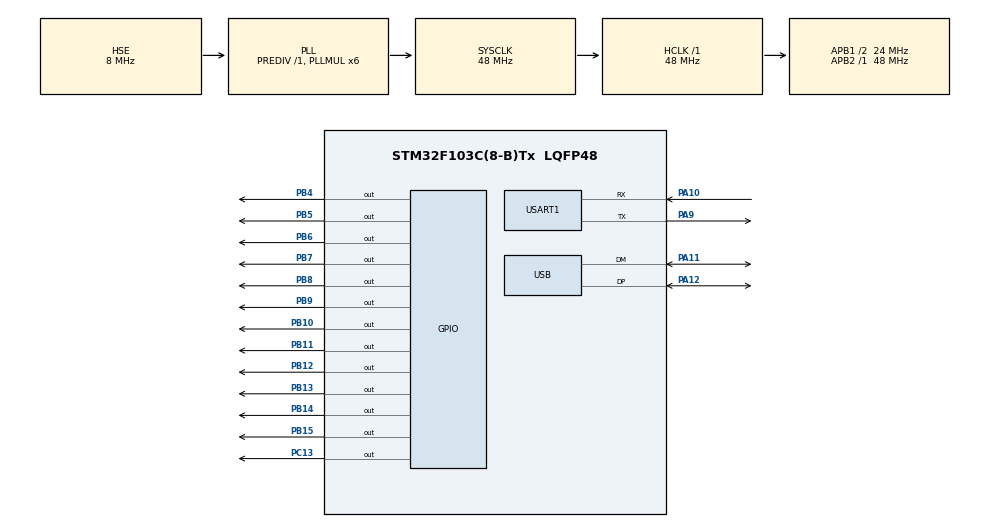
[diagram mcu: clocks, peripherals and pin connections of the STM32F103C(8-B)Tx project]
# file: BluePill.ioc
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Mcu.Family=STM32F1
Mcu.Name=STM32F103C(8-B)Tx
Mcu.Package=LQFP48
NVIC.PriorityGroup=NVIC_PRIORITYGROUP_4
NVIC.USB_LP_CAN1_RX0_IRQn=true\:0\:0\:false\:false\:true\:false\:true
PA10.Mode=Asynchronous
PA10.Signal=USART1_RX
PA11.Mode=Device
PA11.Signal=USB_DM
PA12.Mode=Device
PA12.Signal=USB_DP
PA13.Mode=Serial_Wire
PA13.Signal=SYS_JTMS-SWDIO
PA14.Mode=Serial_Wire
PA14.Signal=SYS_JTCK-SWCLK
PA9.Mode=Asynchronous
PA9.Signal=USART1_TX
PB10.GPIO_PuPd=GPIO_PULLDOWN
PB10.Signal=GPIO_Output
PB11.GPIO_PuPd=GPIO_PULLDOWN
PB11.Signal=GPIO_Output
PB12.GPIO_PuPd=GPIO_PULLDOWN
PB12.Signal=GPIO_Output
PB13.GPIO_PuPd=GPIO_PULLDOWN
PB13.Signal=GPIO_Output
PB14.GPIO_PuPd=GPIO_PULLDOWN
PB14.Signal=GPIO_Output
PB15.GPIO_PuPd=GPIO_PULLDOWN
PB15.Signal=GPIO_Output
PB4.GPIO_PuPd=GPIO_PULLDOWN
PB4.Signal=GPIO_Output
PB5.GPIO_PuPd=GPIO_PULLDOWN
PB5.Signal=GPIO_Output
PB6.GPIO_PuPd=GPIO_PULLDOWN
PB6.Signal=GPIO_Output
PB7.GPIO_PuPd=GPIO_PULLDOWN
PB7.Signal=GPIO_Output
PB8.GPIO_PuPd=GPIO_PULLDOWN
PB8.Signal=GPIO_Output
PB9.GPIO_PuPd=GPIO_PULLDOWN
PB9.Signal=GPIO_Output
PC13-TAMPER-RTC.GPIO_PuPd=GPIO_PULLDOWN
PC13-TAMPER-RTC.Signal=GPIO_Output
PD0-OSC_IN.Mode=HSE-External-Oscillator
PD0-OSC_IN.Signal=RCC_OSC_IN
PD1-OSC_OUT.Mode=HSE-External-Oscillator
PD1-OSC_OUT.Signal=RCC_OSC_OUT
ProjectManager.HeapSize=0x200
ProjectManager.StackSize=0x400
ProjectManager.TargetToolchain=Makefile
RCC.AHBFreq_Value=48000000
RCC.APB1CLKDivider=RCC_HCLK_DIV2
RCC.APB1Freq_Value=24000000
RCC.APB1TimFreq_Value=48000000
RCC.APB2Freq_Value=48000000
RCC.APB2TimFreq_Value=48000000
RCC.HCLKFreq_Value=48000000
RCC.PLLMUL=RCC_PLL_MUL6
RCC.SYSCLKFreq_VALUE=48000000
RCC.SYSCLKSource=RCC_SYSCLKSOURCE_PLLCLK
RCC.USBFreq_Value=48000000
USART1.VirtualMode=VM_ASYNC
USB_DEVICE.CLASS_NAME_FS=CDC
USB_DEVICE.VirtualMode=Cdc
USB_DEVICE.VirtualModeFS=Cdc_FS
VP_USB_DEVICE_VS_USB_DEVICE_CDC_FS.Mode=CDC_FS
board=custom

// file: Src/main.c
/* USER CODE BEGIN Header */
/**
  ******************************************************************************
  * @file           : main.c
  * @brief          : Main program body
  ******************************************************************************
  * @attention
  *
  * <h2><center>&copy; Copyright (c) 2020 STMicroelectronics.
  * All rights reserved.</center></h2>
  *
  * This software component is licensed by ST under BSD 3-Clause license,
  * the "License"; You may not use this file except in compliance with the
  * License. You may obtain a copy of the License at:
  *                        opensource.org/licenses/BSD-3-Clause
  *
  ******************************************************************************
  */
/* USER CODE END Header */

#include "main.h"
#include "usb_device.h"

UART_HandleTypeDef huart1;

void SystemClock_Config(void);
static void MX_GPIO_Init(void);
static void MX_USART1_UART_Init(void);

/* USER CODE BEGIN 0 */
uint8_t rx_buff[1];
uint8_t numberOfTimes= 0;
/* USER CODE END 0 */

int main(void)
{

  /* MCU Configuration--------------------------------------------------------*/

  /* Reset of all peripherals, Initializes the Flash interface and the Systick. */
  HAL_Init();

  /* Configure the system clock */
  SystemClock_Config();

  /* Initialize all configured peripherals */
  MX_GPIO_Init();
  MX_USART1_UART_Init();
  MX_USB_DEVICE_Init();
  /* USER CODE BEGIN 2 */
  HAL_UART_Receive_IT(&huart1, rx_buff, 1);
  uint8_t version[4] = { 0, 0, 1, 2 };
  DebugProt_Init( &debugProt,
                  version,
                  (const char*)"BluePill\n",
                  (const char*)"001\n",
                  0,
                  NULL,
                  writeSerialData,
                  getRegisterAddress
                );
  /* USER CODE END 2 */

  /* Infinite loop */
  while (1)
  {

    /* USER CODE BEGIN 3 */
    DebugProt_DoMain(&debugProt);
  }
  /* USER CODE END 3 */
}

void SystemClock_Config(void)
{
  RCC_OscInitTypeDef RCC_OscInitStruct = {0};
  RCC_ClkInitTypeDef RCC_ClkInitStruct = {0};
  RCC_PeriphCLKInitTypeDef PeriphClkInit = {0};

  /** Initializes the CPU, AHB and APB busses clocks
  */
  RCC_OscInitStruct.OscillatorType = RCC_OSCILLATORTYPE_HSE;
  RCC_OscInitStruct.HSEState = RCC_HSE_ON;
  RCC_OscInitStruct.HSEPredivValue = RCC_HSE_PREDIV_DIV1;
  RCC_OscInitStruct.HSIState = RCC_HSI_ON;
  RCC_OscInitStruct.PLL.PLLState = RCC_PLL_ON;
  RCC_OscInitStruct.PLL.PLLSource = RCC_PLLSOURCE_HSE;
  RCC_OscInitStruct.PLL.PLLMUL = RCC_PLL_MUL6;
  if (HAL_RCC_OscConfig(&RCC_OscInitStruct) != HAL_OK)
  {
    Error_Handler();
  }
  /** Initializes the CPU, AHB and APB busses clocks
  */
  RCC_ClkInitStruct.ClockType = RCC_CLOCKTYPE_HCLK|RCC_CLOCKTYPE_SYSCLK
                              |RCC_CLOCKTYPE_PCLK1|RCC_CLOCKTYPE_PCLK2;
  RCC_ClkInitStruct.SYSCLKSource = RCC_SYSCLKSOURCE_PLLCLK;
  RCC_ClkInitStruct.AHBCLKDivider = RCC_SYSCLK_DIV1;
  RCC_ClkInitStruct.APB1CLKDivider = RCC_HCLK_DIV2;
  RCC_ClkInitStruct.APB2CLKDivider = RCC_HCLK_DIV1;

  if (HAL_RCC_ClockConfig(&RCC_ClkInitStruct, FLASH_LATENCY_1) != HAL_OK)
  {
    Error_Handler();
  }
  PeriphClkInit.PeriphClockSelection = RCC_PERIPHCLK_USB;
  PeriphClkInit.UsbClockSelection = RCC_USBCLKSOURCE_PLL;
  if (HAL_RCCEx_PeriphCLKConfig(&PeriphClkInit) != HAL_OK)
  {
    Error_Handler();
  }
}

static void MX_USART1_UART_Init(void)
{

  huart1.Instance = USART1;
  huart1.Init.BaudRate = 115200;
  huart1.Init.WordLength = UART_WORDLENGTH_8B;
  huart1.Init.StopBits = UART_STOPBITS_1;
  huart1.Init.Parity = UART_PARITY_NONE;
  huart1.Init.Mode = UART_MODE_TX_RX;
  huart1.Init.HwFlowCtl = UART_HWCONTROL_NONE;
  huart1.Init.OverSampling = UART_OVERSAMPLING_16;
  if (HAL_UART_Init(&huart1) != HAL_OK)
  {
    Error_Handler();
  }

}

static void MX_GPIO_Init(void)
{
  GPIO_InitTypeDef GPIO_InitStruct = {0};

  /* GPIO Ports Clock Enable */
  __HAL_RCC_GPIOC_CLK_ENABLE();
  __HAL_RCC_GPIOD_CLK_ENABLE();
  __HAL_RCC_GPIOB_CLK_ENABLE();
  __HAL_RCC_GPIOA_CLK_ENABLE();

  /*Configure GPIO pin Output Level */
  HAL_GPIO_WritePin(GPIOC, GPIO_PIN_13, GPIO_PIN_RESET);

  /*Configure GPIO pin Output Level */
  HAL_GPIO_WritePin(GPIOB, GPIO_PIN_10|GPIO_PIN_11|GPIO_PIN_12|GPIO_PIN_13
                          |GPIO_PIN_14|GPIO_PIN_15|GPIO_PIN_4|GPIO_PIN_5
                          |GPIO_PIN_6|GPIO_PIN_7|GPIO_PIN_8|GPIO_PIN_9, GPIO_PIN_RESET);

  /*Configure GPIO pin : PC13 */
  GPIO_InitStruct.Pin = GPIO_PIN_13;
  GPIO_InitStruct.Mode = GPIO_MODE_OUTPUT_PP;
  GPIO_InitStruct.Pull = GPIO_PULLDOWN;
  GPIO_InitStruct.Speed = GPIO_SPEED_FREQ_LOW;
  HAL_GPIO_Init(GPIOC, &GPIO_InitStruct);

  /*Configure GPIO pins : PB10 PB11 PB12 PB13
                           PB14 PB15 PB4 PB5
                           PB6 PB7 PB8 PB9 */
  GPIO_InitStruct.Pin = GPIO_PIN_10|GPIO_PIN_11|GPIO_PIN_12|GPIO_PIN_13
                          |GPIO_PIN_14|GPIO_PIN_15|GPIO_PIN_4|GPIO_PIN_5
                          |GPIO_PIN_6|GPIO_PIN_7|GPIO_PIN_8|GPIO_PIN_9;
  GPIO_InitStruct.Mode = GPIO_MODE_OUTPUT_PP;
  GPIO_InitStruct.Pull = GPIO_PULLDOWN;
  GPIO_InitStruct.Speed = GPIO_SPEED_FREQ_LOW;
  HAL_GPIO_Init(GPIOB, &GPIO_InitStruct);

}

/* USER CODE BEGIN 4 */
//-----------------------------------------------------------------------------
static void writeSerialData( uint8_t* data, uint16_t size )
{
    if ( (data != 0) && (size > 0) )
    {
        HAL_UART_Transmit( &huart1, data, size, 1000);
        CDC_Transmit_FS(data, size);
    }
}
//-----------------------------------------------------------------------------
static void getRegisterAddress(SDebugChannel* pChan)
{
    pChan->pSource = NULL;

    switch (pChan->_uCtrl & 0xF0)
    {
        case (sourceAbsoluteAddress | debugRead):
        case (sourceAbsoluteAddress | debugWrite):
        {
            //--- absolute memory offset ---
            pChan->pSource = (uint8_t*)pChan->_uOffset;
            break;
        }
    }
}
//-----------------------------------------------------------------------------
void HAL_UART_RxCpltCallback(UART_HandleTypeDef* huart){
  DebugProt_AddReceivedData(&debugProt,rx_buff,1);
  HAL_UART_Receive_IT(&huart1, rx_buff, 1);
}
/* USER CODE END 4 */

void Error_Handler(void)
{
}

/************************ (C) COPYRIGHT STMicroelectronics *****END OF FILE****/
